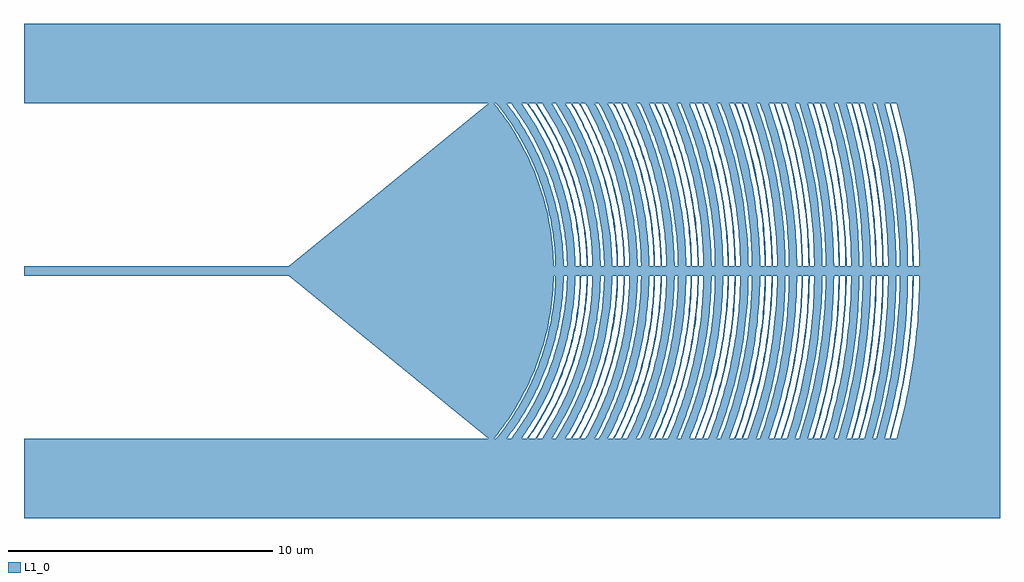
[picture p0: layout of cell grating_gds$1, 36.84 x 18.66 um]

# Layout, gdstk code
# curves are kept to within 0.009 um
import gdstk
lib = gdstk.Library(unit=1e-6, precision=1e-09)
def R(c, l, rs):  # rectangles x0, y0, x1, y1
    for r in rs: c.add(gdstk.rectangle(r[:2], r[2:], *l))
def P(c, l, *ps):  # polygons
    for p in ps: c.add(gdstk.Polygon(p, *l))
L1_0 = (1, 0)

boolean_481118ff = lib.new_cell('boolean_481118ff')
P(boolean_481118ff, L1_0, [(-10,-0.175),(0,-0.175),(7.537,-6.328),(7.742,-6.328),(7.986,-6.018),(8.29,-5.592),(8.572,-5.15),(8.746,-4.848),(8.988,-4.384),(9.135,-4.067),(9.336,-3.584),(9.455,-3.256),(9.613,-2.756),(9.703,-2.419),(9.877,-1.564),(9.976,-0.698),(9.994,-0.349),(9.998,0.175),(9.976,0.698),(9.945,1.045),(9.903,1.392),(9.816,1.908),(9.744,2.25),(9.613,2.756),(9.455,3.256),(9.272,3.746),(9.063,4.226),(8.829,4.695),(8.572,5.15),(8.29,5.592),(7.986,6.018),(7.742,6.328),(7.537,6.328),(0,0.175),(-10,0.175)],
  [(8.262,-6.276),(8.723,-5.617),(8.985,-5.188),(9.18,-4.835),(9.403,-4.385),(9.566,-4.017),(9.75,-3.549),(9.88,-3.168),(10.096,-2.393),(10.2,-1.901),(10.266,-1.504),(10.327,-1.004),(10.358,-0.603),(10.375,-0.101),(10.371,0.302),(10.344,0.804),(10.293,1.304),(10.235,1.703),(10.14,2.196),(10.022,2.685),(9.88,3.168),(9.75,3.549),(9.566,4.017),(9.272,4.656),(8.985,5.188),(8.613,5.785),(8.262,6.276),(8.222,6.328),(7.826,6.328),(8.3,5.692),(8.716,5.032),(9.08,4.342),(9.389,3.625),(9.553,3.166),(9.669,2.793),(9.77,2.416),(9.876,1.939),(9.996,1.168),(10.057,0.39),(10.057,-0.39),(9.996,-1.168),(9.876,-1.939),(9.696,-2.699),(9.584,-3.073),(9.389,-3.625),(9.202,-4.076),(8.95,-4.604),(8.716,-5.032),(8.462,-5.449),(8.131,-5.931),(7.826,-6.328),(8.222,-6.328)],
  [(8.798,-6.289),(9.036,-5.943),(9.313,-5.498),(9.711,-4.76),(10.051,-3.993),(10.198,-3.6),(10.36,-3.102),(10.57,-2.29),(10.668,-1.775),(10.729,-1.36),(10.774,-0.943),(10.807,-0.419),(10.807,0.419),(10.774,0.943),(10.729,1.36),(10.668,1.775),(10.57,2.29),(10.473,2.698),(10.33,3.202),(10.051,3.993),(9.802,4.57),(9.469,5.225),(9.149,5.767),(8.798,6.289),(8.77,6.328),(8.383,6.328),(8.776,5.772),(9.197,5.075),(9.432,4.623),(9.604,4.254),(9.905,3.497),(10.146,2.719),(10.307,2.024),(10.433,1.219),(10.496,0.407),(10.496,-0.407),(10.444,-1.118),(10.326,-1.924),(10.172,-2.62),(10.033,-3.11),(9.835,-3.688),(9.645,-4.16),(9.432,-4.623),(9.197,-5.075),(8.94,-5.514),(8.662,-5.941),(8.383,-6.328),(8.77,-6.328)],
  [(9.034,-6.326),(9.273,-5.971),(9.497,-5.607),(9.708,-5.234),(9.856,-4.95),(10.084,-4.466),(10.25,-4.072),(10.364,-3.772),(10.502,-3.367),(10.625,-2.958),(10.756,-2.439),(10.822,-2.125),(10.896,-1.704),(10.941,-1.387),(10.987,-0.961),(11.016,-0.534),(11.029,0),(11.016,0.534),(10.987,0.961),(10.941,1.387),(10.896,1.704),(10.842,2.02),(10.756,2.439),(10.625,2.958),(10.502,3.367),(10.364,3.772),(10.25,4.072),(10.084,4.466),(9.856,4.95),(9.708,5.234),(9.551,5.514),(9.273,5.971),(9.033,6.328),(8.982,6.328),(9.18,6.038),(9.462,5.586),(9.62,5.308),(9.819,4.931),(10.002,4.547),(10.171,4.155),(10.325,3.758),(10.463,3.355),(10.585,2.947),(10.691,2.534),(10.781,2.117),(10.855,1.698),(10.913,1.276),(10.954,0.851),(10.979,0.426),(10.987,0.107),(10.985,-0.213),(10.969,-0.639),(10.936,-1.064),(10.886,-1.487),(10.82,-1.908),(10.738,-2.326),(10.64,-2.741),(10.526,-3.151),(10.43,-3.456),(10.288,-3.858),(10.089,-4.352),(9.958,-4.643),(9.721,-5.12),(9.462,-5.586),(9.18,-6.038),(8.982,-6.328)],
  [(9.369,-6.293),(9.548,-6.018),(9.775,-5.643),(9.935,-5.357),(10.183,-4.869),(10.364,-4.47),(10.529,-4.065),(10.679,-3.654),(10.781,-3.342),(10.902,-2.921),(11.007,-2.496),(11.096,-2.068),(11.168,-1.636),(11.234,-1.093),(11.261,-0.766),(11.282,-0.328),(11.287,0),(11.282,0.328),(11.261,0.766),(11.234,1.093),(11.168,1.636),(11.096,2.068),(11.007,2.496),(10.902,2.921),(10.781,3.342),(10.643,3.757),(10.489,4.167),(10.32,4.571),(10.135,4.967),(9.882,5.453),(9.606,5.925),(9.346,6.328),(9.296,6.328),(9.513,5.996),(9.739,5.623),(9.949,5.241),(10.145,4.851),(10.282,4.554),(10.451,4.152),(10.604,3.743),(10.741,3.33),(10.862,2.911),(10.967,2.487),(11.055,2.06),(11.11,1.738),(11.156,1.414),(11.202,0.98),(11.232,0.545),(11.245,0.109),(11.243,-0.218),(11.226,-0.654),(11.192,-1.089),(11.142,-1.522),(11.074,-1.953),(10.99,-2.381),(10.89,-2.805),(10.773,-3.225),(10.64,-3.64),(10.529,-3.948),(10.368,-4.354),(10.192,-4.752),(10,-5.144),(9.739,-5.623),(9.513,-5.996),(9.296,-6.328),(9.346,-6.328)],
  [(9.957,-6.276),(10.414,-5.485),(10.762,-4.767),(10.939,-4.346),(11.099,-3.918),(11.339,-3.156),(11.55,-2.268),(11.691,-1.366),(11.735,-0.912),(11.761,-0.456),(11.765,0.342),(11.735,0.912),(11.691,1.366),(11.55,2.268),(11.453,2.714),(11.308,3.266),(11.021,4.133),(10.808,4.662),(10.569,5.18),(10.25,5.786),(9.924,6.328),(9.553,6.328),(9.924,5.73),(10.29,5.043),(10.608,4.334),(10.912,3.499),(11.124,2.751),(11.304,1.88),(11.405,1.109),(11.454,0.333),(11.446,-0.555),(11.368,-1.441),(11.304,-1.88),(11.222,-2.317),(11.009,-3.18),(10.73,-4.024),(10.386,-4.843),(9.979,-5.633),(9.553,-6.328),(9.924,-6.328)],
  [(10.453,-6.309),(10.69,-5.899),(10.911,-5.48),(11.303,-4.618),(11.59,-3.84),(11.824,-3.046),(12.003,-2.237),(12.127,-1.417),(12.195,-0.592),(12.205,0.355),(12.14,1.3),(12.081,1.77),(12.003,2.237),(11.794,3.16),(11.627,3.728),(11.513,4.064),(11.303,4.618),(11.066,5.16),(10.747,5.795),(10.442,6.328),(10.076,6.328),(10.473,5.647),(10.832,4.924),(11.141,4.178),(11.399,3.413),(11.604,2.632),(11.756,1.839),(11.843,1.152),(11.894,0.346),(11.885,-0.577),(11.804,-1.496),(11.676,-2.293),(11.463,-3.191),(11.22,-3.961),(10.926,-4.713),(10.581,-5.443),(10.305,-5.949),(10.076,-6.328),(10.442,-6.328)],
  [(10.698,-6.316),(10.878,-6.002),(11.048,-5.683),(11.26,-5.25),(11.408,-4.921),(11.59,-4.475),(11.715,-4.136),(11.867,-3.678),(11.969,-3.332),(12.089,-2.865),(12.167,-2.512),(12.235,-2.157),(12.309,-1.681),(12.353,-1.323),(12.395,-0.843),(12.414,-0.482),(12.424,0),(12.414,0.482),(12.395,0.843),(12.353,1.323),(12.309,1.681),(12.235,2.157),(12.167,2.512),(12.089,2.865),(11.969,3.332),(11.867,3.678),(11.715,4.136),(11.59,4.475),(11.408,4.921),(11.156,5.468),(10.878,6.002),(10.691,6.328),(10.643,6.328),(10.899,5.877),(11.065,5.557),(11.222,5.233),(11.417,4.794),(11.551,4.46),(11.676,4.122),(11.791,3.781),(11.929,3.32),(12.02,2.972),(12.126,2.504),(12.194,2.15),(12.268,1.676),(12.312,1.318),(12.354,0.84),(12.373,0.48),(12.382,0.12),(12.377,-0.36),(12.354,-0.84),(12.324,-1.199),(12.284,-1.557),(12.233,-1.913),(12.173,-2.268),(12.075,-2.739),(11.991,-3.089),(11.896,-3.436),(11.754,-3.895),(11.594,-4.348),(11.507,-4.572),(11.321,-5.014),(11.118,-5.45),(10.899,-5.877),(10.643,-6.328),(10.691,-6.328)],
  [(11.044,-6.234),(11.277,-5.801),(11.441,-5.471),(11.595,-5.136),(11.74,-4.796),(11.831,-4.568),(11.999,-4.106),(12.149,-3.637),(12.25,-3.282),(12.34,-2.925),(12.42,-2.564),(12.51,-2.081),(12.565,-1.716),(12.61,-1.35),(12.644,-0.983),(12.672,-0.492),(12.682,0),(12.672,0.492),(12.644,0.983),(12.61,1.35),(12.565,1.716),(12.51,2.081),(12.42,2.564),(12.34,2.925),(12.25,3.282),(12.149,3.637),(11.999,4.106),(11.831,4.568),(11.693,4.91),(11.441,5.471),(11.22,5.91),(10.99,6.328),(10.942,6.328),(11.184,5.891),(11.404,5.453),(11.557,5.119),(11.701,4.78),(11.878,4.323),(11.998,3.976),(12.144,3.508),(12.241,3.153),(12.354,2.676),(12.426,2.316),(12.507,1.832),(12.54,1.589),(12.581,1.224),(12.619,0.735),(12.635,0.368),(12.64,0),(12.635,-0.368),(12.619,-0.735),(12.581,-1.224),(12.54,-1.589),(12.507,-1.832),(12.426,-2.316),(12.354,-2.676),(12.241,-3.153),(12.144,-3.508),(12.036,-3.859),(11.919,-4.208),(11.792,-4.553),(11.606,-5.006),(11.404,-5.453),(11.184,-5.891),(10.942,-6.328),(10.99,-6.328)],
  [(11.588,-6.248),(11.932,-5.564),(12.282,-4.742),(12.575,-3.898),(12.81,-3.036),(12.987,-2.16),(13.09,-1.401),(13.155,-0.511),(13.16,0.383),(13.135,0.893),(13.09,1.401),(12.965,2.286),(12.867,2.787),(12.749,3.284),(12.497,4.141),(12.282,4.742),(12.088,5.214),(11.821,5.794),(11.544,6.328),(11.189,6.328),(11.597,5.545),(11.852,4.977),(12.162,4.161),(12.383,3.447),(12.563,2.721),(12.7,1.986),(12.794,1.244),(12.849,0.374),(12.849,-0.374),(12.824,-0.872),(12.781,-1.368),(12.659,-2.232),(12.478,-3.086),(12.24,-3.925),(11.946,-4.746),(11.597,-5.545),(11.189,-6.328),(11.544,-6.328)],
  [(12.098,-6.223),(12.492,-5.389),(12.784,-4.653),(13.033,-3.902),(13.268,-3.009),(13.441,-2.102),(13.541,-1.317),(13.599,-0.396),(13.599,0.396),(13.541,1.317),(13.497,1.71),(13.398,2.362),(13.207,3.266),(12.955,4.154),(12.784,4.653),(12.544,5.267),(12.274,5.869),(12.043,6.328),(11.691,6.328),(12.048,5.618),(12.354,4.908),(12.619,4.181),(12.841,3.441),(13.019,2.688),(13.153,1.927),(13.243,1.159),(13.288,0.387),(13.283,-0.516),(13.218,-1.415),(13.092,-2.308),(12.935,-3.066),(12.735,-3.813),(12.447,-4.668),(12.102,-5.501),(11.691,-6.328),(12.043,-6.328)],
  [(12.288,-6.321),(12.467,-5.961),(12.635,-5.596),(12.792,-5.226),(12.939,-4.852),(13.074,-4.474),(13.238,-3.963),(13.348,-3.577),(13.446,-3.187),(13.533,-2.794),(13.609,-2.4),(13.673,-2.003),(13.74,-1.471),(13.777,-1.071),(13.802,-0.67),(13.816,-0.268),(13.818,0.134),(13.808,0.536),(13.787,0.937),(13.754,1.338),(13.709,1.737),(13.653,2.135),(13.585,2.531),(13.476,3.056),(13.382,3.447),(13.276,3.835),(13.159,4.219),(12.985,4.726),(12.842,5.102),(12.635,5.596),(12.349,6.202),(12.285,6.328),(12.238,6.328),(12.429,5.943),(12.597,5.579),(12.754,5.211),(12.9,4.837),(13.035,4.46),(13.159,4.079),(13.308,3.566),(13.406,3.177),(13.465,2.917),(13.568,2.392),(13.632,1.997),(13.684,1.599),(13.725,1.201),(13.754,0.801),(13.771,0.401),(13.777,0),(13.771,-0.401),(13.754,-0.801),(13.725,-1.201),(13.684,-1.599),(13.632,-1.997),(13.568,-2.392),(13.465,-2.917),(13.406,-3.177),(13.308,-3.566),(13.236,-3.823),(13.119,-4.207),(12.991,-4.586),(12.804,-5.087),(12.65,-5.457),(12.429,-5.943),(12.238,-6.328),(12.285,-6.328)],
  [(12.579,-6.317),(12.758,-5.949),(12.871,-5.7),(13.031,-5.324),(13.228,-4.815),(13.362,-4.428),(13.485,-4.037),(13.597,-3.643),(13.697,-3.246),(13.786,-2.847),(13.863,-2.444),(13.928,-2.04),(13.997,-1.499),(14.053,-0.818),(14.071,-0.409),(14.077,0),(14.071,0.409),(14.053,0.818),(14.023,1.227),(13.965,1.77),(13.886,2.31),(13.838,2.579),(13.786,2.847),(13.665,3.379),(13.561,3.775),(13.445,4.168),(13.274,4.686),(13.132,5.07),(12.871,5.7),(12.64,6.195),(12.574,6.328),(12.527,6.328),(12.72,5.932),(12.833,5.684),(12.993,5.308),(13.189,4.8),(13.323,4.415),(13.484,3.895),(13.657,3.237),(13.745,2.838),(13.822,2.437),(13.887,2.034),(13.94,1.629),(13.982,1.223),(14.019,0.68),(14.035,0),(14.019,-0.68),(13.982,-1.223),(13.94,-1.629),(13.887,-2.034),(13.822,-2.437),(13.745,-2.838),(13.657,-3.237),(13.484,-3.895),(13.365,-4.285),(13.235,-4.672),(13.093,-5.055),(12.887,-5.559),(12.72,-5.932),(12.527,-6.328),(12.574,-6.328)],
  [(13.136,-6.281),(13.479,-5.507),(13.776,-4.714),(14.027,-3.905),(14.23,-3.082),(14.385,-2.25),(14.492,-1.41),(14.554,-0.424),(14.554,0.424),(14.492,1.41),(14.363,2.389),(14.167,3.358),(13.948,4.176),(13.776,4.714),(13.583,5.244),(13.369,5.767),(13.113,6.328),(12.767,6.328),(13.084,5.644),(13.342,5.003),(13.569,4.351),(13.799,3.554),(13.955,2.881),(14.099,2.065),(14.195,1.242),(14.243,0.414),(14.243,-0.414),(14.195,-1.242),(14.099,-2.065),(13.926,-3.017),(13.727,-3.821),(13.482,-4.613),(13.138,-5.517),(12.767,-6.328),(13.113,-6.328)],
  [(13.655,-6.207),(13.94,-5.538),(14.238,-4.718),(14.488,-3.882),(14.69,-3.033),(14.841,-2.174),(14.942,-1.307),(14.993,-0.436),(14.993,0.436),(14.929,1.452),(14.881,1.886),(14.796,2.461),(14.628,3.317),(14.369,4.302),(14.045,5.267),(13.83,5.807),(13.599,6.328),(13.255,6.328),(13.543,5.687),(13.803,5.024),(14.03,4.349),(14.259,3.526),(14.44,2.691),(14.553,1.988),(14.633,1.28),(14.682,0.427),(14.682,-0.427),(14.633,-1.28),(14.512,-2.27),(14.356,-3.11),(14.112,-4.076),(13.851,-4.89),(13.543,-5.687),(13.255,-6.328),(13.599,-6.328)],
  [(13.85,-6.296),(14.139,-5.617),(14.296,-5.203),(14.441,-4.785),(14.656,-4.08),(14.769,-3.652),(14.869,-3.221),(14.956,-2.787),(15.031,-2.351),(15.074,-2.059),(15.127,-1.62),(15.168,-1.179),(15.196,-0.737),(15.211,-0.295),(15.214,0),(15.207,0.442),(15.188,0.885),(15.156,1.326),(15.111,1.766),(15.053,2.205),(14.982,2.642),(14.837,3.365),(14.733,3.795),(14.616,4.222),(14.487,4.645),(14.346,5.064),(14.139,5.617),(13.91,6.161),(13.835,6.328),(13.789,6.328),(13.989,5.874),(14.154,5.465),(14.307,5.051),(14.402,4.772),(14.535,4.351),(14.655,3.927),(14.763,3.499),(14.828,3.212),(14.888,2.924),(14.99,2.344),(15.052,1.907),(15.086,1.615),(15.126,1.176),(15.154,0.735),(15.166,0.441),(15.172,0),(15.166,-0.441),(15.154,-0.735),(15.137,-1.029),(15.101,-1.469),(15.052,-1.907),(15.012,-2.199),(14.941,-2.635),(14.859,-3.068),(14.763,-3.499),(14.692,-3.784),(14.616,-4.069),(14.492,-4.492),(14.307,-5.051),(14.154,-5.465),(13.989,-5.874),(13.789,-6.328),(13.835,-6.328)],
  [(14.146,-6.265),(14.265,-5.99),(14.433,-5.573),(14.589,-5.15),(14.733,-4.724),(14.864,-4.293),(14.944,-4.004),(15.054,-3.568),(15.152,-3.129),(15.21,-2.834),(15.286,-2.391),(15.349,-1.945),(15.399,-1.498),(15.436,-1.049),(15.46,-0.6),(15.471,-0.15),(15.471,0.15),(15.46,0.6),(15.436,1.049),(15.413,1.348),(15.367,1.796),(15.262,2.539),(15.152,3.129),(15.088,3.422),(14.982,3.859),(14.864,4.293),(14.733,4.724),(14.589,5.15),(14.378,5.712),(14.146,6.265),(14.118,6.328),(14.072,6.328),(14.227,5.974),(14.34,5.697),(14.448,5.418),(14.647,4.853),(14.782,4.425),(14.865,4.138),(14.979,3.704),(15.08,3.267),(15.169,2.827),(15.245,2.384),(15.308,1.94),(15.342,1.643),(15.384,1.196),(15.412,0.748),(15.427,0.299),(15.43,0),(15.427,-0.299),(15.412,-0.748),(15.384,-1.196),(15.342,-1.643),(15.308,-1.94),(15.245,-2.384),(15.196,-2.679),(15.111,-3.12),(15.048,-3.413),(14.942,-3.849),(14.865,-4.138),(14.738,-4.569),(14.599,-4.995),(14.448,-5.418),(14.227,-5.974),(14.072,-6.328),(14.118,-6.328)],
  [(14.65,-6.319),(14.993,-5.457),(15.24,-4.724),(15.451,-3.98),(15.656,-3.075),(15.808,-2.159),(15.907,-1.236),(15.952,-0.309),(15.948,0.464),(15.928,0.928),(15.88,1.545),(15.763,2.465),(15.593,3.378),(15.371,4.279),(15.24,4.724),(15.045,5.311),(14.828,5.891),(14.646,6.328),(14.307,6.328),(14.594,5.635),(14.85,4.921),(15.071,4.195),(15.257,3.46),(15.406,2.716),(15.52,1.967),(15.597,1.212),(15.637,0.455),(15.641,-0.303),(15.597,-1.212),(15.5,-2.117),(15.351,-3.015),(15.149,-3.902),(14.897,-4.777),(14.594,-5.635),(14.307,-6.328)],
  [(15.177,-6.2),(15.459,-5.458),(15.706,-4.702),(15.915,-3.935),(16.117,-3.003),(16.244,-2.219),(16.345,-1.27),(16.391,-0.318),(16.387,0.477),(16.332,1.429),(16.284,1.903),(16.198,2.533),(16.023,3.471),(15.794,4.397),(15.512,5.307),(15.351,5.756),(15.124,6.328),(14.786,6.328),(15.059,5.647),(15.315,4.911),(15.535,4.163),(15.719,3.405),(15.865,2.639),(15.975,1.867),(16.035,1.246),(16.077,0.468),(16.077,-0.468),(16.035,-1.246),(15.975,-1.867),(15.914,-2.331),(15.782,-3.1),(15.613,-3.861),(15.408,-4.613),(15.113,-5.501),(14.786,-6.328),(15.124,-6.328)],
  [(15.375,-6.281),(15.494,-5.982),(15.661,-5.529),(15.815,-5.071),(15.911,-4.763),(16,-4.454),(16.123,-3.987),(16.232,-3.516),(16.297,-3.201),(16.383,-2.725),(16.456,-2.248),(16.514,-1.768),(16.545,-1.447),(16.57,-1.126),(16.596,-0.644),(16.608,-0.161),(16.608,0.161),(16.596,0.644),(16.58,0.966),(16.545,1.447),(16.514,1.768),(16.456,2.248),(16.409,2.566),(16.327,3.042),(16.232,3.516),(16.123,3.987),(16,4.454),(15.911,4.763),(15.765,5.224),(15.607,5.68),(15.356,6.328),(15.311,6.328),(15.568,5.666),(15.675,5.363),(15.824,4.905),(15.96,4.443),(16.043,4.133),(16.157,3.664),(16.225,3.35),(16.315,2.877),(16.368,2.56),(16.415,2.242),(16.473,1.764),(16.504,1.444),(16.539,0.963),(16.56,0.482),(16.567,0),(16.56,-0.482),(16.547,-0.803),(16.504,-1.444),(16.473,-1.764),(16.415,-2.242),(16.368,-2.56),(16.286,-3.035),(16.157,-3.664),(16.043,-4.133),(15.96,-4.443),(15.824,-4.905),(15.675,-5.363),(15.512,-5.817),(15.311,-6.328),(15.356,-6.328)],
  [(15.675,-6.227),(15.849,-5.769),(15.958,-5.46),(16.061,-5.15),(16.204,-4.68),(16.292,-4.365),(16.412,-3.89),(16.518,-3.411),(16.581,-3.09),(16.638,-2.768),(16.711,-2.283),(16.771,-1.796),(16.802,-1.47),(16.828,-1.144),(16.854,-0.654),(16.866,-0.164),(16.866,0.164),(16.854,0.654),(16.838,0.981),(16.816,1.307),(16.771,1.796),(16.733,2.12),(16.664,2.606),(16.581,3.09),(16.518,3.411),(16.412,3.89),(16.292,4.365),(16.158,4.837),(16.061,5.15),(15.849,5.769),(15.675,6.227),(15.634,6.328),(15.589,6.328),(15.754,5.908),(15.865,5.601),(15.971,5.292),(16.118,4.825),(16.252,4.355),(16.333,4.039),(16.477,3.402),(16.54,3.082),(16.623,2.6),(16.67,2.277),(16.729,1.791),(16.761,1.466),(16.796,0.978),(16.818,0.489),(16.824,0.163),(16.822,-0.326),(16.812,-0.652),(16.786,-1.141),(16.761,-1.466),(16.711,-1.953),(16.67,-2.277),(16.569,-2.922),(16.444,-3.562),(16.333,-4.039),(16.252,-4.355),(16.118,-4.825),(15.919,-5.447),(15.754,-5.908),(15.589,-6.328),(15.634,-6.328)],
  [(16.185,-6.249),(16.469,-5.457),(16.759,-4.49),(16.957,-3.673),(17.115,-2.847),(17.233,-2.014),(17.31,-1.177),(17.347,-0.336),(17.343,0.505),(17.284,1.512),(17.167,2.514),(17.086,3.013),(16.957,3.673),(16.759,4.49),(16.469,5.457),(16.155,6.328),(15.82,6.328),(16.067,5.672),(16.323,4.887),(16.541,4.09),(16.687,3.445),(16.808,2.796),(16.924,1.978),(17,1.156),(17.032,0.496),(17.036,-0.33),(17,-1.156),(16.904,-2.142),(16.78,-2.959),(16.617,-3.768),(16.37,-4.728),(16.121,-5.516),(15.82,-6.328),(16.155,-6.328)],
  [(16.657,-6.246),(16.94,-5.432),(17.183,-4.604),(17.386,-3.766),(17.548,-2.919),(17.669,-2.065),(17.748,-1.207),(17.786,-0.345),(17.782,0.517),(17.722,1.55),(17.602,2.578),(17.422,3.597),(17.227,4.437),(16.94,5.432),(16.626,6.328),(16.292,6.328),(16.537,5.658),(16.792,4.85),(17.007,4.031),(17.151,3.368),(17.294,2.533),(17.379,1.861),(17.438,1.185),(17.471,0.508),(17.471,-0.508),(17.426,-1.354),(17.34,-2.197),(17.213,-3.035),(17.045,-3.866),(16.838,-4.687),(16.591,-5.498),(16.292,-6.328),(16.626,-6.328)],
  [(16.857,-6.321),(17.09,-5.663),(17.247,-5.163),(17.344,-4.828),(17.518,-4.152),(17.595,-3.811),(17.699,-3.298),(17.787,-2.782),(17.838,-2.436),(17.919,-1.743),(17.962,-1.221),(17.982,-0.873),(17.996,-0.524),(18.003,0),(17.996,0.524),(17.982,0.873),(17.962,1.221),(17.919,1.743),(17.838,2.436),(17.787,2.782),(17.699,3.298),(17.595,3.811),(17.518,4.152),(17.39,4.66),(17.296,4.996),(17.144,5.497),(16.918,6.158),(16.855,6.328),(16.81,6.328),(17.05,5.65),(17.207,5.152),(17.304,4.817),(17.478,4.142),(17.555,3.803),(17.658,3.29),(17.746,2.775),(17.797,2.431),(17.86,1.912),(17.893,1.566),(17.941,0.871),(17.954,0.522),(17.962,0),(17.954,-0.522),(17.941,-0.871),(17.893,-1.566),(17.86,-1.912),(17.797,-2.431),(17.689,-3.119),(17.555,-3.803),(17.394,-4.48),(17.256,-4.984),(17.104,-5.484),(16.995,-5.815),(16.81,-6.328),(16.855,-6.328)],
  [(17.16,-6.246),(17.278,-5.912),(17.443,-5.407),(17.544,-5.067),(17.684,-4.555),(17.809,-4.039),(17.884,-3.693),(18.014,-2.997),(18.093,-2.471),(18.138,-2.12),(18.206,-1.415),(18.248,-0.708),(18.258,-0.354),(18.26,0.177),(18.254,0.531),(18.23,1.062),(18.192,1.592),(18.158,1.944),(18.093,2.471),(18.042,2.822),(17.919,3.519),(17.809,4.039),(17.727,4.383),(17.639,4.726),(17.494,5.237),(17.278,5.912),(17.13,6.328),(17.085,6.328),(17.239,5.898),(17.35,5.563),(17.504,5.056),(17.599,4.716),(17.769,4.03),(17.911,3.338),(17.973,2.99),(18.052,2.466),(18.134,1.764),(18.189,1.059),(18.212,0.53),(18.219,0.177),(18.212,-0.53),(18.189,-1.059),(18.165,-1.412),(18.097,-2.115),(18.052,-2.466),(17.973,-2.99),(17.843,-3.684),(17.769,-4.03),(17.687,-4.373),(17.552,-4.886),(17.403,-5.394),(17.239,-5.898),(17.085,-6.328),(17.13,-6.328)],
  [(17.676,-6.24),(17.957,-5.376),(18.197,-4.5),(18.358,-3.79),(18.52,-2.896),(18.618,-2.176),(18.702,-1.271),(18.741,-0.363),(18.737,0.545),(18.688,1.453),(18.572,2.537),(18.428,3.434),(18.197,4.5),(17.957,5.376),(17.644,6.328),(17.313,6.328),(17.553,5.628),(17.759,4.943),(17.937,4.251),(18.122,3.377),(18.239,2.672),(18.329,1.962),(18.391,1.25),(18.426,0.536),(18.43,-0.358),(18.391,-1.25),(18.309,-2.14),(18.184,-3.025),(18.016,-3.903),(17.806,-4.771),(17.607,-5.458),(17.313,-6.328),(17.644,-6.328)],
  [(18.151,-6.211),(18.431,-5.324),(18.667,-4.424),(18.825,-3.697),(18.982,-2.78),(19.094,-1.857),(19.152,-1.116),(19.181,-0.372),(19.176,0.558),(19.127,1.487),(19.008,2.596),(18.86,3.514),(18.667,4.424),(18.431,5.324),(18.11,6.328),(17.781,6.328),(18.027,5.588),(18.23,4.885),(18.406,4.174),(18.554,3.457),(18.674,2.735),(18.766,2.009),(18.83,1.28),(18.865,0.549),(18.87,-0.366),(18.83,-1.28),(18.746,-2.191),(18.646,-2.916),(18.483,-3.816),(18.277,-4.708),(18.027,-5.588),(17.781,-6.328),(18.11,-6.328)],
  [(18.354,-6.28),(18.583,-5.564),(18.785,-4.839),(18.918,-4.29),(18.998,-3.923),(19.135,-3.183),(19.22,-2.625),(19.267,-2.252),(19.34,-1.503),(19.384,-0.752),(19.398,0),(19.384,0.752),(19.353,1.316),(19.324,1.691),(19.288,2.065),(19.22,2.625),(19.104,3.368),(18.998,3.923),(18.918,4.29),(18.785,4.839),(18.688,5.202),(18.529,5.743),(18.354,6.28),(18.337,6.328),(18.293,6.328),(18.544,5.552),(18.745,4.828),(18.918,4.098),(19.063,3.361),(19.179,2.62),(19.247,2.061),(19.283,1.687),(19.334,0.938),(19.349,0.563),(19.357,0),(19.342,-0.751),(19.299,-1.5),(19.226,-2.247),(19.124,-2.991),(18.994,-3.73),(18.835,-4.464),(18.745,-4.828),(18.597,-5.372),(18.489,-5.731),(18.293,-6.328),(18.337,-6.328)],
  [(18.658,-6.183),(18.884,-5.455),(19.082,-4.718),(19.211,-4.161),(19.288,-3.788),(19.42,-3.037),(19.523,-2.282),(19.564,-1.903),(19.611,-1.333),(19.648,-0.572),(19.655,0.191),(19.648,0.572),(19.623,1.143),(19.564,1.903),(19.475,2.66),(19.358,3.413),(19.211,4.161),(19.082,4.718),(18.986,5.087),(18.775,5.82),(18.61,6.328),(18.566,6.328),(18.791,5.626),(18.995,4.893),(19.086,4.524),(19.21,3.966),(19.349,3.219),(19.459,2.466),(19.54,1.709),(19.592,0.951),(19.614,0.19),(19.606,-0.57),(19.57,-1.33),(19.503,-2.088),(19.408,-2.843),(19.283,-3.593),(19.21,-3.966),(19.086,-4.524),(18.995,-4.893),(18.844,-5.443),(18.678,-5.989),(18.566,-6.328),(18.61,-6.328)],
  [(19.178,-6.149),(19.402,-5.401),(19.641,-4.454),(19.834,-3.497),(19.954,-2.726),(20.045,-1.95),(20.116,-0.976),(20.14,0),(20.125,0.781),(20.063,1.755),(19.954,2.726),(19.799,3.689),(19.597,4.644),(19.349,5.589),(19.12,6.328),(18.792,6.328),(18.996,5.687),(19.202,4.946),(19.379,4.198),(19.527,3.443),(19.646,2.683),(19.736,1.92),(19.783,1.345),(19.82,0.577),(19.825,-0.384),(19.783,-1.345),(19.695,-2.302),(19.591,-3.064),(19.419,-4.01),(19.249,-4.76),(19.05,-5.503),(18.792,-6.328),(19.12,-6.328)],
  [(19.597,-6.283),(19.878,-5.326),(20.07,-4.551),(20.231,-3.77),(20.362,-2.983),(20.483,-1.992),(20.544,-1.197),(20.578,-0.2),(20.571,0.599),(20.517,1.595),(20.416,2.587),(20.267,3.573),(20.07,4.551),(19.825,5.519),(19.582,6.328),(19.255,6.328),(19.472,5.624),(19.675,4.865),(19.809,4.291),(19.96,3.52),(20.082,2.743),(20.153,2.158),(20.222,1.375),(20.26,0.59),(20.267,-0.196),(20.234,-1.179),(20.153,-2.158),(20.054,-2.937),(19.925,-3.713),(19.722,-4.674),(19.526,-5.435),(19.255,-6.328),(19.582,-6.328)],
  [(19.861,-6.156),(20.085,-5.382),(20.278,-4.599),(20.364,-4.205),(20.441,-3.809),(20.574,-3.014),(20.675,-2.214),(20.745,-1.41),(20.769,-1.008),(20.784,-0.605),(20.792,0.202),(20.769,1.008),(20.714,1.812),(20.628,2.614),(20.574,3.014),(20.511,3.412),(20.364,4.205),(20.233,4.795),(20.136,5.187),(19.977,5.77),(19.807,6.328),(19.763,6.328),(19.937,5.759),(20.145,4.981),(20.238,4.59),(20.323,4.196),(20.401,3.802),(20.47,3.405),(20.533,3.008),(20.587,2.609),(20.673,1.809),(20.727,1.006),(20.751,0.201),(20.743,-0.604),(20.704,-1.407),(20.634,-2.209),(20.533,-3.008),(20.401,-3.802),(20.238,-4.59),(20.096,-5.176),(19.992,-5.565),(19.763,-6.328),(19.807,-6.328)],
  [(20.107,-6.233),(20.334,-5.448),(20.53,-4.656),(20.695,-3.856),(20.829,-3.051),(20.931,-2.241),(21.003,-1.428),(21.042,-0.612),(21.05,0.204),(21.026,1.02),(21.003,1.428),(20.971,1.835),(20.884,2.647),(20.766,3.454),(20.657,4.057),(20.574,4.457),(20.386,5.251),(20.224,5.842),(20.077,6.328),(20.034,6.328),(20.24,5.634),(20.346,5.241),(20.443,4.845),(20.576,4.248),(20.725,3.448),(20.843,2.641),(20.93,1.831),(20.985,1.018),(21.009,0.204),(21.001,-0.611),(20.961,-1.425),(20.93,-1.831),(20.89,-2.237),(20.788,-3.045),(20.654,-3.849),(20.576,-4.248),(20.489,-4.647),(20.294,-5.438),(20.127,-6.026),(20.034,-6.328),(20.077,-6.328)],
  [(20.63,-6.176),(20.854,-5.372),(21.047,-4.559),(21.207,-3.739),(21.337,-2.914),(21.434,-2.085),(21.498,-1.252),(21.531,-0.418),(21.526,0.626),(21.47,1.669),(21.364,2.707),(21.243,3.534),(21.047,4.559),(20.854,5.372),(20.584,6.328),(20.258,6.328),(20.446,5.692),(20.652,4.894),(20.826,4.09),(20.936,3.483),(21.055,2.668),(21.124,2.055),(21.188,1.234),(21.215,0.617),(21.22,-0.412),(21.188,-1.234),(21.124,-2.055),(21,-3.076),(20.864,-3.888),(20.698,-4.694),(20.5,-5.493),(20.258,-6.328),(20.584,-6.328)],
  [(21.051,-6.302),(21.28,-5.481),(21.476,-4.652),(21.64,-3.816),(21.8,-2.763),(21.89,-1.915),(21.948,-1.065),(21.973,-0.213),(21.965,0.639),(21.908,1.703),(21.826,2.551),(21.676,3.606),(21.476,4.652),(21.28,5.481),(21.043,6.328),(20.718,6.328),(20.925,5.607),(21.079,4.996),(21.216,4.381),(21.369,3.555),(21.464,2.932),(21.561,2.097),(21.613,1.469),(21.654,0.63),(21.662,-0.21),(21.638,-1.05),(21.581,-1.888),(21.464,-2.932),(21.297,-3.968),(21.127,-4.791),(20.925,-5.607),(20.718,-6.328),(21.043,-6.328)],
  [(21.317,-6.157),(21.432,-5.743),(21.539,-5.326),(21.639,-4.907),(21.73,-4.487),(21.851,-3.853),(21.922,-3.428),(21.984,-3.003),(22.084,-2.148),(22.151,-1.29),(22.179,-0.645),(22.187,0.215),(22.179,0.645),(22.162,1.075),(22.104,1.934),(22.038,2.576),(21.922,3.428),(21.772,4.276),(21.59,5.117),(21.432,5.743),(21.266,6.328),(21.223,6.328),(21.392,5.732),(21.598,4.898),(21.772,4.057),(21.881,3.422),(21.997,2.571),(22.08,1.716),(22.13,0.859),(22.146,0.215),(22.146,-0.215),(22.137,-0.644),(22.109,-1.288),(22.062,-1.93),(22.021,-2.358),(21.971,-2.784),(21.881,-3.422),(21.81,-3.846),(21.645,-4.689),(21.55,-5.107),(21.446,-5.524),(21.223,-6.328),(21.266,-6.328)],
  [(21.565,-6.229),(21.79,-5.388),(21.982,-4.539),(22.142,-3.683),(22.239,-3.038),(22.341,-2.173),(22.379,-1.739),(22.408,-1.305),(22.437,-0.653),(22.445,0.218),(22.437,0.653),(22.42,1.088),(22.379,1.739),(22.341,2.173),(22.294,2.606),(22.176,3.468),(22.105,3.898),(22.025,4.326),(21.841,5.176),(21.681,5.809),(21.565,6.229),(21.535,6.328),(21.492,6.328),(21.641,5.799),(21.75,5.378),(21.897,4.743),(21.985,4.318),(22.064,3.891),(22.168,3.247),(22.253,2.601),(22.337,1.736),(22.367,1.303),(22.388,0.869),(22.404,0.217),(22.404,-0.217),(22.395,-0.652),(22.367,-1.303),(22.319,-1.953),(22.227,-2.817),(22.101,-3.676),(21.942,-4.531),(21.75,-5.378),(21.641,-5.799),(21.492,-6.328),(21.535,-6.328)],
  [(22.09,-6.149),(22.312,-5.288),(22.5,-4.419),(22.619,-3.762),(22.748,-2.883),(22.842,-1.998),(22.903,-1.111),(22.928,-0.222),(22.92,0.667),(22.861,1.777),(22.748,2.883),(22.619,3.762),(22.41,4.854),(22.205,5.72),(22.039,6.328),(21.715,6.328),(21.904,5.642),(22.106,4.788),(22.236,4.144),(22.347,3.495),(22.439,2.844),(22.512,2.19),(22.58,1.315),(22.609,0.658),(22.617,-0.219),(22.592,-1.096),(22.532,-1.971),(22.439,-2.844),(22.312,-3.711),(22.151,-4.574),(21.957,-5.429),(21.715,-6.328),(22.039,-6.328)],
  [(22.513,-6.267),(22.739,-5.389),(22.931,-4.503),(23.052,-3.835),(23.184,-2.938),(23.28,-2.037),(23.341,-1.133),(23.368,-0.227),(23.359,0.68),(23.299,1.811),(23.211,2.713),(23.052,3.835),(22.886,4.726),(22.686,5.61),(22.496,6.328),(22.172,6.328),(22.487,5.1),(22.626,4.444),(22.781,3.563),(22.875,2.899),(22.95,2.232),(23.005,1.564),(23.048,0.671),(23.057,-0.224),(23.031,-1.117),(22.97,-2.01),(22.875,-2.899),(22.745,-3.784),(22.582,-4.663),(22.384,-5.535),(22.172,-6.328),(22.496,-6.328)],
  [(22.719,-6.324),(22.838,-5.883),(22.947,-5.439),(23.096,-4.769),(23.225,-4.095),(23.3,-3.644),(23.366,-3.191),(23.449,-2.511),(23.529,-1.599),(23.573,-0.686),(23.583,0),(23.573,0.686),(23.529,1.599),(23.449,2.511),(23.396,2.965),(23.334,3.418),(23.184,4.32),(23.096,4.769),(22.999,5.216),(22.838,5.883),(22.718,6.328),(22.675,6.328),(22.797,5.872),(22.907,5.429),(23.055,4.761),(23.184,4.088),(23.259,3.638),(23.325,3.186),(23.408,2.506),(23.452,2.052),(23.487,1.597),(23.514,1.141),(23.532,0.685),(23.542,0),(23.532,-0.685),(23.502,-1.369),(23.452,-2.052),(23.408,-2.506),(23.355,-2.96),(23.259,-3.638),(23.143,-4.312),(23.055,-4.761),(22.959,-5.207),(22.853,-5.651),(22.675,-6.328)],
  [(22.989,6.16),(23.21,5.264),(23.353,4.586),(23.514,3.678),(23.611,2.992),(23.688,2.304),(23.745,1.614),(23.782,0.923),(23.799,0),(23.782,-0.923),(23.745,-1.614),(23.688,-2.304),(23.611,-2.992),(23.477,-3.905),(23.308,-4.813),(23.104,-5.713),(22.943,-6.328),(23.841,-6.328),(23.841,6.328),(22.943,6.328)])

boolean_2d61b76c = lib.new_cell('boolean_2d61b76c')
P(boolean_2d61b76c, L1_0, [(26.841,-9.328),(26.841,9.328),(-10,9.328),(-10,6.328),(23.841,6.328),(23.841,-6.328),(-10,-6.328),(-10,-9.328)])

grating_add_tether_45b7e = lib.new_cell('grating_add_tether_45b7e3af')
grating_add_tether_45b7e.add(gdstk.Reference(boolean_481118ff, (0,0)))
grating_add_tether_45b7e.add(gdstk.Reference(boolean_2d61b76c, (0,0)))

compass_size23p841__0p35 = lib.new_cell('compass_size23p841__0p35')
R(compass_size23p841__0p35, L1_0, [(-11.92,-0.175,11.92,0.175)])

rectangle_size23p841__0p = lib.new_cell('rectangle_size23p841__0p35')
rectangle_size23p841__0p.add(gdstk.Reference(compass_size23p841__0p35, (11.92,0.175)))

grating_gds_1 = lib.new_cell('grating_gds$1')
grating_gds_1.add(gdstk.Reference(grating_add_tether_45b7e, (0,0)))
grating_gds_1.add(gdstk.Reference(rectangle_size23p841__0p, (2,-0.175)))

lib.write_gds('grating_gds_1.gds')
